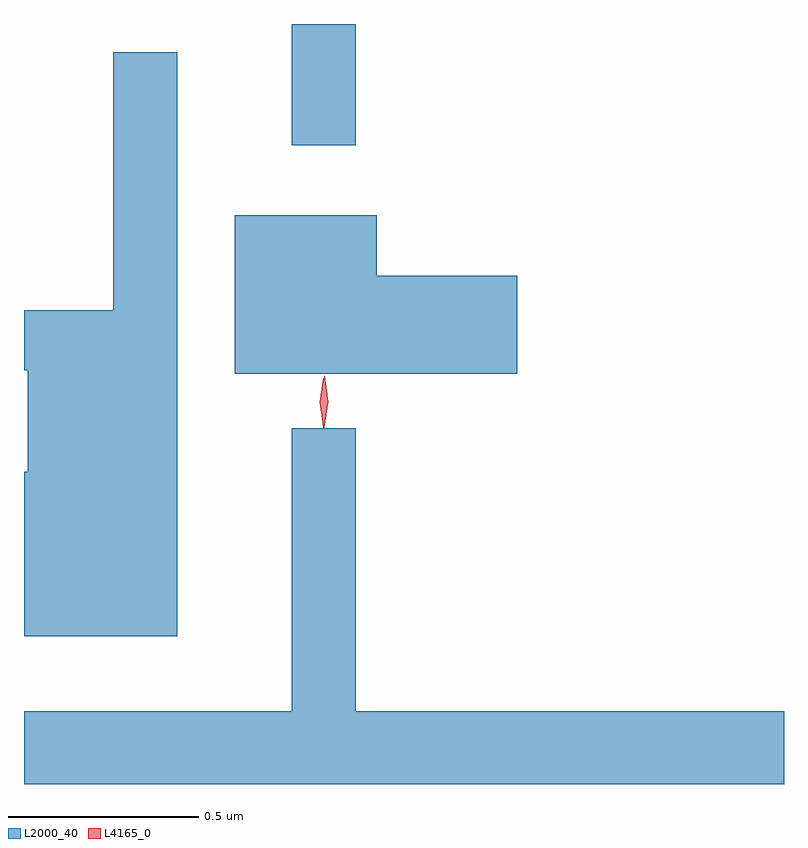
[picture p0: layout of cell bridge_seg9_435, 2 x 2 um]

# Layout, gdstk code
import gdstk
lib = gdstk.Library(unit=1e-6, precision=1e-09)
def R(c, l, rs):  # rectangles x0, y0, x1, y1
    for r in rs: c.add(gdstk.rectangle(r[:2], r[2:], *l))
def P(c, l, *ps):  # polygons
    for p in ps: c.add(gdstk.Polygon(p, *l))
L2000_40 = (2000, 40)
L4165_0 = (4165, 0)

bridge_seg9_435 = lib.new_cell('bridge_seg9_435')
R(bridge_seg9_435, L2000_40, [(539.761,2071.273,539.929,2071.592)])
P(bridge_seg9_435, L2000_40, [(539.459,2071.518),(539.291,2071.518),(539.291,2070.839),(539.056,2070.839),(539.056,2070.681),(539.066,2070.681),(539.066,2070.414),(539.056,2070.414),(539.056,2069.981),(539.459,2069.981)],
  [(540.354,2070.929),(539.984,2070.929),(539.984,2071.089),(539.611,2071.089),(539.611,2070.671),(540.354,2070.671)],
  [(541.056,2069.784),(539.929,2069.784),(539.929,2070.528),(539.761,2070.528),(539.761,2069.784),(539.056,2069.784),(539.056,2069.592),(541.056,2069.592)])
P(bridge_seg9_435, L4165_0, [(539.844,2070.53),(539.836,2070.598),(539.846,2070.665),(539.847,2070.666),(539.847,2070.665),(539.856,2070.598),(539.846,2070.53),(539.845,2070.53)],
  [(539.845,2070.533),(539.844,2070.534),(539.834,2070.596),(539.844,2070.66),(539.844,2070.66),(539.845,2070.66),(539.854,2070.597),(539.845,2070.534)])

lib.write_gds('bridge_seg9_435.gds')
